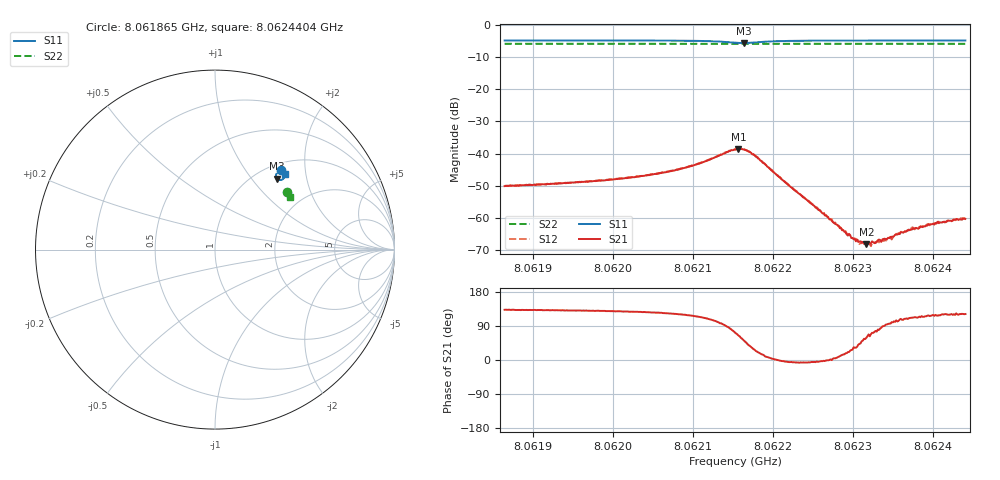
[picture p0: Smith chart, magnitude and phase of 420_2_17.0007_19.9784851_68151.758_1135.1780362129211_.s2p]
#  HZ  S  RI  R  50.00
! Rohde & Schwarz Vector Network Analyzer
! Rohde-Schwarz,ZNB20-2Port,1311601062101988,3.16
! Created: UTC 3/20/2024, 11:10:55 PM
! freq[Hz]  re:S11  im:S11  re:S21  im:S21  re:S12  im:S12  re:S22  im:S22
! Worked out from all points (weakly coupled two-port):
!   401 points, 8.061865 GHz to 8.0624404 GHz, reference 50 ohm
!   highest |S21| = -38.53 dB at 8.062157 GHz (marker M1); lowest = -68.1 dB at 8.0623167 GHz (marker M2)
!   lowest |S11| = -5.6 dB at 8.0621642 GHz (marker M3), VSWR 3.21, Z = 62.1 + j67.7 ohm
!   |S11| at or under -10 dB: nowhere
!   |S22| runs from -5.9 to -5.8 dB; largest |S21 - S12| = 0.00085
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8.06186499e9  0.3684 0.443  -0.00211 0.0023  -0.00201 0.00248  0.3998 0.3197
8.06196137e9  0.3753 0.4367  -0.00235 0.0028  -0.00217 0.0029  0.4036 0.3149
8.0620146e9  0.3795 0.4321  -0.00255 0.00326  -0.00238 0.00344  0.4056 0.3122
8.06205776e9  0.3835 0.4268  -0.00282 0.00403  -0.00258 0.00428  0.4071 0.3098
8.06208221e9  0.3857 0.4221  -0.00291 0.00489  -0.00264 0.00506  0.408 0.3084
8.06210523e9  0.3876 0.415  -0.00286 0.0062  -0.00252 0.00641  0.4087 0.3069
8.0621527e9  0.3645 0.3877  0.00351 0.0111  0.00414 0.0109  0.4091 0.3038
8.06215702e9  0.3574 0.3884  0.00506 0.0107  0.00574 0.0104  0.4087 0.3038
8.06216421e9  0.3465 0.395  0.0074 0.00884  0.00797 0.00855  0.4087 0.3038
8.06216996e9  0.3412 0.4036  0.00837 0.00674  0.00887 0.00626  0.4087 0.304
8.06218003e9  0.3409 0.4184  0.00817 0.00332  0.00842 0.00291  0.4093 0.3041
8.06221744e9  0.3619 0.4355  0.0034 -0.000269  0.00344 -0.000462  0.4118 0.3029
8.06224908e9  0.3718 0.4346  0.00162 -0.000155  0.00163 -0.000271  0.4133 0.3014
8.06230087e9  0.3802 0.431  0.000389 0.000258  0.00045 0.00017  0.4152 0.2985
8.06231094e9  0.3815 0.4304  0.000273 0.000322  0.000288 0.000283  0.4157 0.2979
8.0623167e9  0.382 0.4299  0.000204 0.000335  0.000221 0.000342  0.4159 0.2976
8.06232389e9  0.3827 0.4294  0.000135 0.000411  0.000133 0.000391  0.4161 0.2973
8.06234547e9  0.3847 0.4279  -5.11e-05 0.000482  -6.04e-05 0.000486  0.417 0.2961
8.06235985e9  0.386 0.4271  -0.00019 0.000569  -0.000163 0.000587  0.4174 0.2954
8.06237568e9  0.3873 0.4262  -0.000258 0.000634  -0.000199 0.000669  0.4178 0.2945
8.06240589e9  0.3898 0.4242  -0.000396 0.000777  -0.000381 0.00078  0.4191 0.293
8.06244041e9  0.3922 0.4223  -0.000503 0.000826  -0.00047 0.000862  0.42 0.2912
